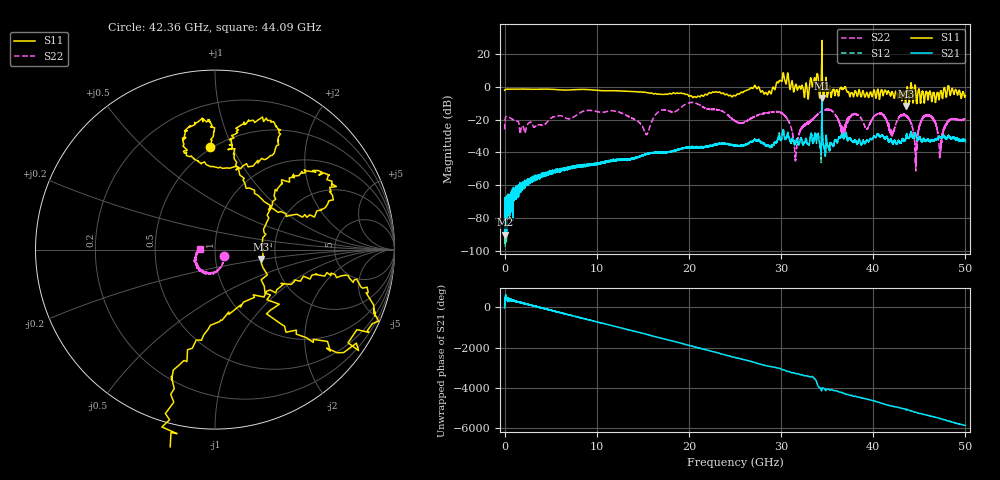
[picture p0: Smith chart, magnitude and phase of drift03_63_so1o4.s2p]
!Created with skrf (http://scikit-rf.org).
# Hz S RI R 50.0
!freq ReS11 ImS11 ReS21 ImS21 ReS12 ImS12 ReS22 ImS22
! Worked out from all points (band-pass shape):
!   10000 points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, 5.3 MHz to 50 GHz, reference 50 ohm
!   highest |S21| = -6.70 dB at 34.43 GHz (marker M1); lowest = -90.1 dB at 90.3 MHz (marker M2)
!   |S21| within 3 dB of the highest: 34.42738 GHz to 34.43421 GHz (6.833 MHz wide, 0.0198 % of centre)
!   lowest |S11| = -11.7 dB at 43.53 GHz (marker M3), VSWR 1.71, Z = 83.7 - j9.44 ohm
!   |S11| at or under -10 dB: 43.48986 GHz to 43.54405 GHz (54.19 MHz wide, 0.125 % of centre); 43.54732 GHz to 43.55139 GHz (4.073 MHz wide, 0.00935 % of centre); 44.70834 GHz to 44.71144 GHz (3.099 MHz wide, 0.00693 % of centre) (the widest 3 of 5)
!   |S22| runs from -51.2 to -9.4 dB; largest |S21 - S12| = 0.13
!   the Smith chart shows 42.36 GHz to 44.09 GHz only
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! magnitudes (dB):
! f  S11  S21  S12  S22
! 5.3 MHz  -2.1  -82.7  -80.2  -25.9
! 90.3 MHz  -1.5  -90.1  -95.5  -18.9
! 2.21 GHz  -1.3  -57.7  -59.2  -28.2
! 8.34 GHz  -1.5  -48.0  -48.1  -15.3
! 12.47 GHz  -2.4  -44.5  -44.4  -15.5
! 15.4 GHz  -3.5  -41.0  -40.9  -28.9
! 16.67 GHz  -4.4  -40.1  -40.0  -15.3
! 20.46 GHz  -6.5  -36.7  -37.0  -9.5
! 25.01 GHz  -5.5  -35.8  -35.9  -20.8
! 29.93 GHz  4.0  -32.4  -31.7  -15.6
! 31.59 GHz  1.4  -33.6  -33.9  -44.1
! 33.34 GHz  2.6  -30.3  -30.4  -20.2
! 34.43 GHz  28.3  -6.7  -8.6  -14.5
! 36.69 GHz  -1.4  -29.7  -29.8  -25.9
! 37.95 GHz  -3.8  -32.6  -32.7  -16.4
! 41.67 GHz  -2.9  -33.4  -33.5  -23.9
! 43.53 GHz  -11.7  -31.1  -31.1  -17.6
! 44.62 GHz  -2.3  -29.3  -29.4  -47.0
! 45.66 GHz  -4.2  -32.9  -33.1  -17.4
! 47.27 GHz  -3.2  -30.5  -30.7  -42.6
! 48.22 GHz  -0.6  -30.2  -30.1  -20.6
! 50 GHz  -5.2  -33.3  -32.2  -19.5
